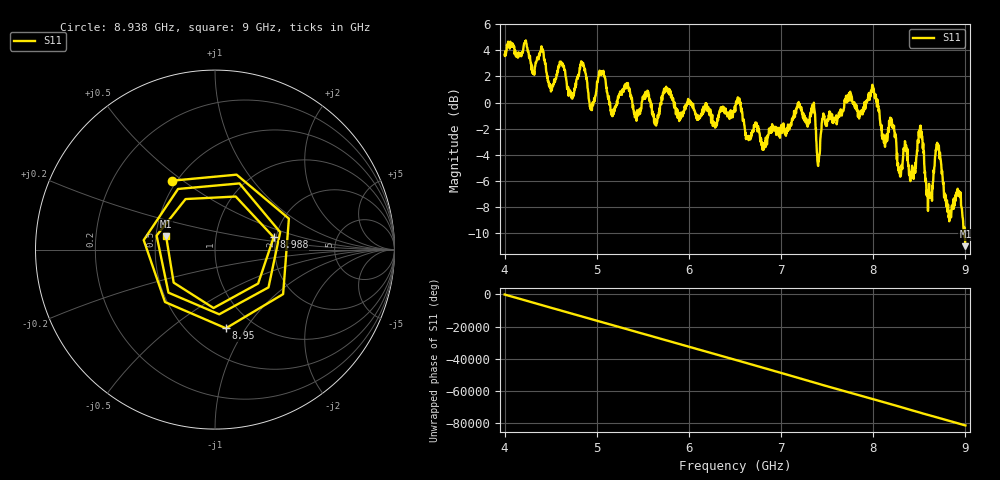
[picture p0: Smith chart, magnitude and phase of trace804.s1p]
! Created with skrf 1.8.0 (http://scikit-rf.org).
# Hz S RI R 50.0
!freq ReS11 ImS11
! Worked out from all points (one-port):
!   1601 points, 4 GHz to 9 GHz, reference 50 ohm
!   lowest |S11| = -11.0 dB at 9 GHz (marker M1), VSWR 1.79, Z = 28.3 + j4.55 ohm
!   |S11| at or under -10 dB: 8.989862 GHz to 8.992608 GHz (2.745 MHz wide, 0.0305 % of centre); 8.994883 GHz to end of sweep
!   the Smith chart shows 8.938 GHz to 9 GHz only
!   S11 on the Smith chart (normalised r, x): 8.938 GHz: 0.47, +0.46; 8.95 GHz: 0.75, -0.82; 8.988 GHz: 1.94, +0.30; 9 GHz: 0.57, +0.09
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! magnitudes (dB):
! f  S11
! 4 GHz  3.7
! 4.4 GHz  4.3
! 4.506 GHz  1.1
! 4.625 GHz  2.9
! 4.731 GHz  0.5
! 4.847 GHz  3.0
! 4.941 GHz  -0.6
! 5.05 GHz  2.3
! 5.162 GHz  -1.0
! 5.25 GHz  0.6
! 5.875 GHz  -0.5
! 6.5 GHz  -0.4
! 6.806 GHz  -3.4
! 7.125 GHz  -1.2
! 7.347 GHz  -0.7
! 7.406 GHz  -4.3
! 7.75 GHz  0.8
! 8.003 GHz  0.8
! 8.119 GHz  -2.9
! 8.375 GHz  -4.5
! 8.509 GHz  -1.8
! 8.603 GHz  -6.9
! 8.7 GHz  -3.6
! 8.822 GHz  -8.6
! 8.938 GHz  -6.9
! 8.95 GHz  -7.1
! 8.988 GHz  -9.5
! 9 GHz  -11.0
